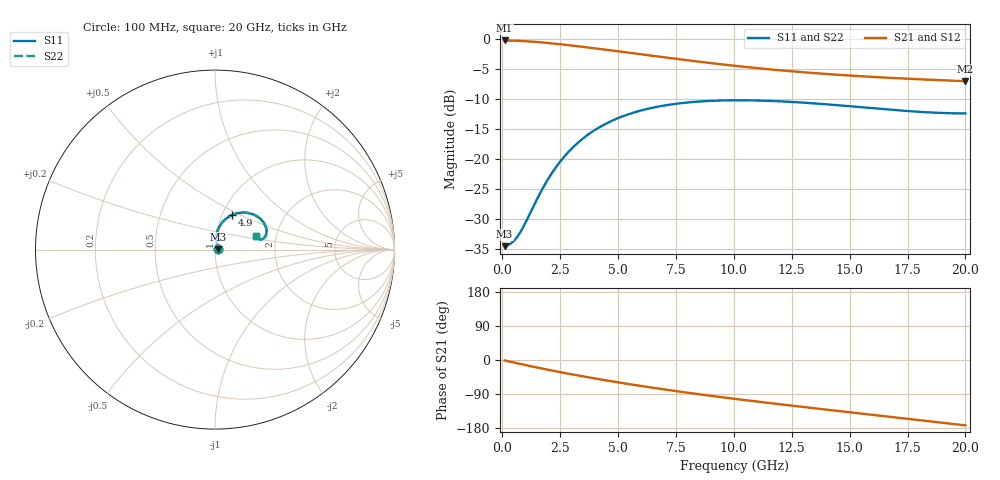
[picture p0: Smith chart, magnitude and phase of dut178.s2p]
! Created with skrf 1.9.0 (http://scikit-rf.org).
# GHz S RI R 50.0
!freq ReS11 ImS11 ReS21 ImS21 ReS12 ImS12 ReS22 ImS22
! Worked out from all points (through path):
!   200 points, 100 MHz to 20 GHz, reference 50 ohm
!   highest |S21| = -0.17 dB at 100 MHz (marker M1); lowest = -7.0 dB at 20 GHz (marker M2)
!   group delay of S21, straight-line fit = 22.8 ps
!   lowest |S11| = -34.5 dB at 100 MHz (marker M3), VSWR 1.04, Z = 51.9 + j0.25 ohm
!   |S11| at or under -10 dB: start of sweep to end of sweep
!   |S22| runs from -34.5 to -10.2 dB; largest |S21 - S12| = 2.2e-15
!   S11 on the Smith chart (normalised r, x): 100 MHz: 1.04, +0.00; 4.9 GHz: 1.12, +0.45; 20 GHz: 1.57, +0.25
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0.1  0.0186 0.0024  0.9809 -0.0233  0.9809 -0.0233  0.0186 0.0024
0.4  0.0177 0.00939  0.9745 -0.0924  0.9745 -0.0924  0.0177 0.00939
0.7  0.0156 0.0173  0.961 -0.1597  0.961 -0.1597  0.0156 0.0173
1  0.0129 0.0265  0.941 -0.2241  0.941 -0.2241  0.0129 0.0265
1.7  0.00775 0.0545  0.8739 -0.3592  0.8739 -0.3592  0.00775 0.0545
2  0.00751 0.069  0.8384 -0.4097  0.8384 -0.4097  0.00751 0.069
2.3  0.00911 0.0844  0.8001 -0.4556  0.8001 -0.4556  0.00911 0.0844
2.6  0.0127 0.1002  0.7596 -0.4969  0.7596 -0.4969  0.0127 0.1002
2.9  0.0185 0.116  0.7175 -0.5338  0.7175 -0.5338  0.0185 0.116
3.5  0.0359 0.1455  0.6303 -0.5949  0.6303 -0.5949  0.0359 0.1455
4.2  0.0641 0.1738  0.5267 -0.6467  0.5267 -0.6467  0.0641 0.1738
4.9  0.0973 0.1933  0.4247 -0.6797  0.4247 -0.6797  0.0973 0.1933
5.8  0.142 0.2051  0.3 -0.6989  0.3 -0.6989  0.142 0.2051
6.8  0.1879 0.2031  0.1741 -0.6961  0.1741 -0.6961  0.1879 0.2031
8.4  0.244 0.1786  0.00447 -0.6557  0.00447 -0.6557  0.244 0.1786
10.1  0.2769 0.1408  -0.1348 -0.5857  -0.1348 -0.5857  0.2769 0.1408
11.7  0.2871 0.1065  -0.2344 -0.5082  -0.2344 -0.5082  0.2871 0.1065
13.4  0.2826 0.0783  -0.3145 -0.4205  -0.3145 -0.4205  0.2826 0.0783
15  0.2701 0.0621  -0.3707 -0.3351  -0.3707 -0.3351  0.2701 0.0621
16.7  0.2535 0.0565  -0.4127 -0.2422  -0.4127 -0.2422  0.2535 0.0565
18.4  0.2384 0.0619  -0.4374 -0.1476  -0.4374 -0.1476  0.2384 0.0619
20  0.2293 0.0748  -0.4445 -0.0584  -0.4445 -0.0584  0.2293 0.0748
